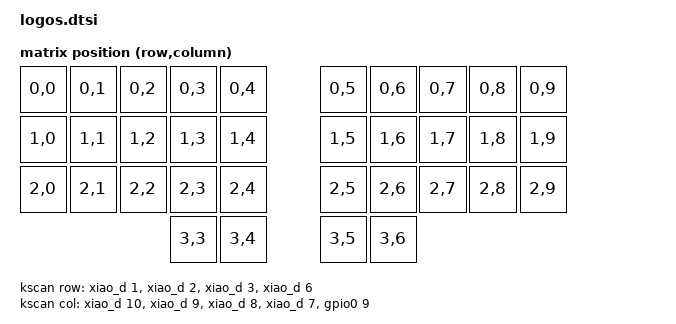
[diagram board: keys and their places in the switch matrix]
#include <dt-bindings/zmk/matrix_transform.h>
#include "logos-layouts.dtsi"

/ {
    chosen {
        zmk,kscan = &kscan;
        zmk,physical-layout = &default_layout;
    };

    kscan: kscan {
        compatible = "zmk,kscan-gpio-matrix";
        diode-direction = "col2row";
        wakeup-source;

        col-gpios
            = <&xiao_d 10 GPIO_ACTIVE_HIGH>
            , <&xiao_d 9 GPIO_ACTIVE_HIGH> 
            , <&xiao_d 8 GPIO_ACTIVE_HIGH> 
            , <&xiao_d 7 GPIO_ACTIVE_HIGH> 
            , <&gpio0 9 GPIO_ACTIVE_HIGH>
            ;

        row-gpios
            = <&xiao_d 1 (GPIO_ACTIVE_HIGH | GPIO_PULL_DOWN)>
            , <&xiao_d 2 (GPIO_ACTIVE_HIGH | GPIO_PULL_DOWN)>
            , <&xiao_d 3 (GPIO_ACTIVE_HIGH | GPIO_PULL_DOWN)>
            , <&xiao_d 6 (GPIO_ACTIVE_HIGH | GPIO_PULL_DOWN)>
            ;
    };

    default_transform: default_transform {
        compatible = "zmk,matrix-transform";
        columns = <10>;
        rows = <4>;

        // I'm not sure if this is actually how it ends up being wired
        // there's a chance that the right side positions will need to be mirrored
        map = < 
            RC(0,0) RC(0,1) RC(0,2) RC(0,3) RC(0,4)                     RC(0,5) RC(0,6) RC(0,7) RC(0,8) RC(0,9)
            RC(1,0) RC(1,1) RC(1,2) RC(1,3) RC(1,4)                     RC(1,5) RC(1,6) RC(1,7) RC(1,8) RC(1,9)
            RC(2,0) RC(2,1) RC(2,2) RC(2,3) RC(2,4)                     RC(2,5) RC(2,6) RC(2,7) RC(2,8) RC(2,9)
                                            RC(3,3) RC(3,4)     RC(3,5) RC(3,6)                              
        >;
    };

    split_inputs {
        #address-cells = <1>;
        #size-cells = <0>;

        trackball_right_split: trackball__right_split@0 {
            compatible = "zmk,input-split";
            reg = <0>;
        };
    };

    trackball_right_listener: trackball_right_listener {
        compatible = "zmk,input-listener";
        status = "disabled";
        device = <&trackball_right_split>;
    };

    trackball_left_listener: trackball_left_listener {
        compatible = "zmk,input-listener";
        status = "disabled";
    };
};

&pinctrl {
    spi0_default: spi0_default {
        group1 {
            psels = <NRF_PSEL(SPIM_SCK, 0, 5)>,
                <NRF_PSEL(SPIM_MOSI, 0, 4)>,
                <NRF_PSEL(SPIM_MISO, 0, 4)>;
        };
    };

    spi0_sleep: spi0_sleep {
        group1 {
            psels = <NRF_PSEL(SPIM_SCK, 0, 5)>,
                <NRF_PSEL(SPIM_MOSI, 0, 4)>,
                <NRF_PSEL(SPIM_MISO, 0, 4)>;
            low-power-enable;
        };
    };
};

&spi0 {
    status = "okay";
    compatible = "nordic,nrf-spim";
    pinctrl-0 = <&spi0_default>;
    pinctrl-1 = <&spi0_sleep>;
    pinctrl-names = "default", "sleep";
    cs-gpios = <&gpio0 10 GPIO_ACTIVE_LOW>;
};
